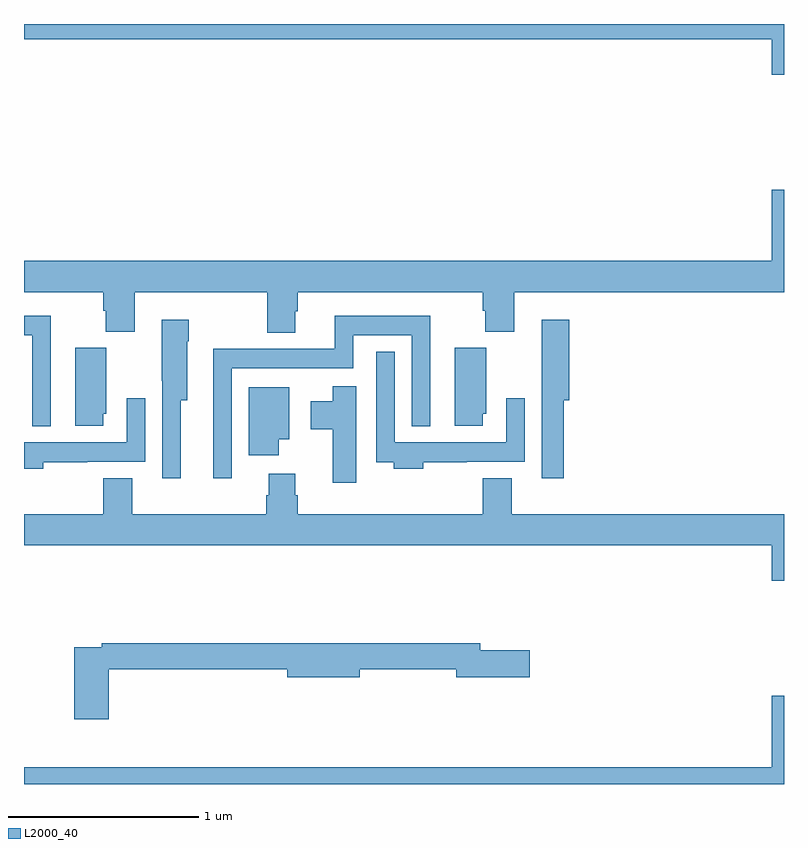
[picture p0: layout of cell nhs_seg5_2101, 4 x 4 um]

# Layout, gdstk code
import gdstk
lib = gdstk.Library(unit=1e-6, precision=1e-09)
def P(c, l, *ps):  # polygons
    for p in ps: c.add(gdstk.Polygon(p, *l))
L2000_40 = (2000, 40)

nhs_seg5_2101 = lib.new_cell('nhs_seg5_2101')
P(nhs_seg5_2101, L2000_40, [(237,896.799),(233,896.799),(233,896.72),(236.936,896.72),(236.936,896.532),(237,896.532)],
  [(234.427,895.287),(234.44,895.287),(234.44,895.388),(235.415,895.388),(235.415,895.289),(235.427,895.289),(235.427,895.18),(235.58,895.18),(235.58,895.388),(237,895.388),(237,895.927),(236.936,895.927),(236.936,895.552),(233,895.552),(233,895.388),(233.417,895.388),(233.417,895.289),(233.429,895.289),(233.429,895.18),(233.582,895.18),(233.582,895.388),(234.28,895.388),(234.28,895.175),(234.427,895.175)],
  [(233.14,895.264),(233,895.264),(233,895.16),(233.043,895.16),(233.043,894.683),(233.14,894.683)],
  [(234.093,894.986),(234.732,894.986),(234.732,895.16),(235.041,895.16),(235.041,894.683),(235.138,894.683),(235.138,895.264),(234.635,895.264),(234.635,895.09),(233.996,895.09),(233.996,894.408),(234.093,894.408)],
  [(235.841,894.818),(235.871,894.818),(235.871,895.243),(235.724,895.243),(235.724,894.922),(235.725,894.922),(235.725,894.408),(235.841,894.408)],
  [(233.824,894.818),(233.86,894.818),(233.86,895.13),(233.868,895.13),(233.868,895.243),(233.726,895.243),(233.726,894.922),(233.727,894.922),(233.727,894.408),(233.824,894.408)],
  [(233.416,894.747),(233.434,894.747),(233.434,895.095),(233.27,895.095),(233.27,894.684),(233.416,894.684)],
  [(235.414,894.747),(235.432,894.747),(235.432,895.095),(235.268,895.095),(235.268,894.684),(235.414,894.684)],
  [(235.1,894.492),(235.331,894.492),(235.331,894.494),(235.635,894.494),(235.635,894.829),(235.539,894.829),(235.539,894.598),(234.951,894.598),(234.951,895.075),(234.855,895.075),(234.855,894.492),(234.947,894.492),(234.947,894.458),(235.1,894.458)],
  [(234.748,894.892),(234.626,894.892),(234.626,894.814),(234.509,894.814),(234.509,894.667),(234.626,894.667),(234.626,894.384),(234.748,894.384)],
  [(234.34,894.614),(234.397,894.614),(234.397,894.886),(234.182,894.886),(234.182,894.528),(234.34,894.528)],
  [(233.102,894.492),(233.333,894.492),(233.333,894.494),(233.637,894.494),(233.637,894.829),(233.541,894.829),(233.541,894.598),(233,894.598),(233,894.458),(233.102,894.458)],
  [(237,894.22),(235.567,894.22),(235.567,894.409),(235.415,894.409),(235.415,894.22),(234.44,894.22),(234.44,894.318),(234.427,894.318),(234.427,894.433),(234.287,894.433),(234.287,894.318),(234.275,894.318),(234.275,894.22),(233.569,894.22),(233.569,894.409),(233.417,894.409),(233.417,894.22),(233,894.22),(233,894.056),(236.936,894.056),(236.936,893.868),(237,893.868)],
  [(233.447,893.404),(234.386,893.404),(234.386,893.362),(234.766,893.362),(234.766,893.404),(235.274,893.404),(235.274,893.362),(235.663,893.362),(235.663,893.504),(235.402,893.504),(235.402,893.54),(233.41,893.54),(233.41,893.52),(233.264,893.52),(233.264,893.139),(233.447,893.139)],
  [(237,893.263),(236.936,893.263),(236.936,892.888),(233,892.888),(233,892.799),(237,892.799)])

lib.write_gds('nhs_seg5_2101.gds')
